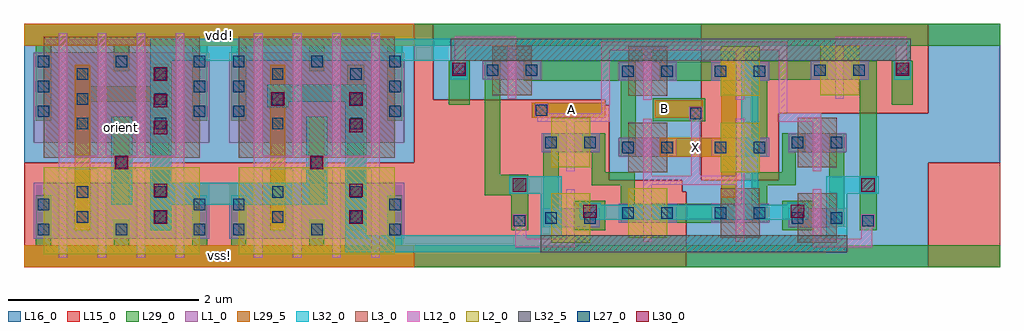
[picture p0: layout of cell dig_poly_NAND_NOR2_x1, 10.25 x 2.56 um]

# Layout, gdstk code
from math import pi, radians
import gdstk
lib = gdstk.Library(unit=1e-6, precision=1e-09)
def R(c, l, rs):  # rectangles x0, y0, x1, y1
    for r in rs: c.add(gdstk.rectangle(r[:2], r[2:], *l))
def A(c, l, x, y, w, h, nx, ny, dx, dy):  # array of equal rectangles
    R(c, l, [(x+i*dx, y+j*dy, x+i*dx+w, y+j*dy+h) for i in range(nx) for j in range(ny)])
L1_0 = (1, 0)
L2_0 = (2, 0)
L3_0 = (3, 0)
L12_0 = (12, 0)
L15_0 = (15, 0)
L16_0 = (16, 0)
L27_0 = (27, 0)
L29_0 = (29, 0)
L29_5 = (29, 5)
L30_0 = (30, 0)
L32_0 = (32, 0)
L32_5 = (32, 5)

nsoim_cdns_580773256580 = lib.new_cell('nsoim_CDNS_580773256580')
R(nsoim_cdns_580773256580, L1_0, [(-0.095,0.2,0,0.79), (0,0.2,0.09,0.79), (0.09,0.2,0.185,0.79)])
R(nsoim_cdns_580773256580, L2_0, [(-0.16,0.04,0.25,0.95)])
R(nsoim_cdns_580773256580, L12_0, [(0,0,0.09,0.09), (0,0.09,0.09,0.2), (0,0.2,0.09,0.79), (0,0.79,0.09,0.9), (0,0.9,0.09,0.99)])
R(nsoim_cdns_580773256580, L15_0, [(-0.155,-0.01,0.245,1)])

stdcell_template_cdns_58 = lib.new_cell('stdcell_template_CDNS_580773256581')
R(stdcell_template_cdns_58, L15_0, [(0,0,2.05,1.1)])
R(stdcell_template_cdns_58, L16_0, [(0,1.1,2.05,2.56)])
R(stdcell_template_cdns_58, L29_0, [(0,0,2.05,0.23), (0,2.33,2.05,2.56)])
R(stdcell_template_cdns_58, L29_5, [(0,0,2.05,0.23), (0,2.33,2.05,2.56)])
stdcell_template_cdns_58.add(gdstk.Label('vss!', (1.025,0.115), layer=29, texttype=5))
stdcell_template_cdns_58.add(gdstk.Label('vdd!', (1.025,2.445), layer=29, texttype=5))

psoim_cdns_580773256582 = lib.new_cell('psoim_CDNS_580773256582')
R(psoim_cdns_580773256582, L1_0, [(-0.095,0.2,0,1.15), (0,0.2,0.09,1.15), (0.09,0.2,0.185,1.15)])
R(psoim_cdns_580773256582, L3_0, [(-0.16,0.04,0.25,1.31)])
R(psoim_cdns_580773256582, L12_0, [(0,0,0.09,0.09), (0,0.09,0.09,0.2), (0,0.2,0.09,1.15), (0,1.15,0.09,1.26), (0,1.26,0.09,1.35)])
R(psoim_cdns_580773256582, L16_0, [(-0.155,-0.01,0.245,1.36)])

poly_m1_cdns_58077325658 = lib.new_cell('POLY_M1_CDNS_580773256581')
R(poly_m1_cdns_58077325658, L12_0, [(-0.07,-0.07,0.07,0.07)])
R(poly_m1_cdns_58077325658, L27_0, [(-0.06,-0.06,0.06,0.06)])
R(poly_m1_cdns_58077325658, L29_0, [(-0.08,-0.1,0.08,0.1)])

act_m1_cdns_580773256582 = lib.new_cell('ACT_M1_CDNS_580773256582')
R(act_m1_cdns_580773256582, L1_0, [(-0.1,-0.1,0.1,0.1)])
R(act_m1_cdns_580773256582, L27_0, [(-0.06,-0.06,0.06,0.06)])
R(act_m1_cdns_580773256582, L29_0, [(-0.08,-0.1,0.08,0.1)])

act_m1_cdns_580773256583 = lib.new_cell('ACT_M1_CDNS_580773256583')
R(act_m1_cdns_580773256583, L1_0, [(-0.1,-0.23,0.1,0.23)])
R(act_m1_cdns_580773256583, L27_0, [(-0.06,-0.19,0.06,-0.07), (-0.06,0.07,0.06,0.19)])
R(act_m1_cdns_580773256583, L29_0, [(-0.08,-0.23,0.08,0.23)])

act_m1_cdns_580773256584 = lib.new_cell('ACT_M1_CDNS_580773256584')
R(act_m1_cdns_580773256584, L1_0, [(-0.1,-0.36,0.1,0.36)])
A(act_m1_cdns_580773256584, L27_0, -0.06, -0.32, 0.12, 0.12, 1, 3, 0, 0.26)
R(act_m1_cdns_580773256584, L29_0, [(-0.08,-0.36,0.08,0.36)])

inv_4x = lib.new_cell('inv_4x')
R(inv_4x, L1_0, [(0.105,0.3,1.945,0.89), (0.105,1.31,1.945,2.26)])
R(inv_4x, L12_0, [(0.365,0.1,0.455,2.46), (0.775,0.1,0.865,2.46), (0.365,1.03,1.685,1.17)])
A(inv_4x, L29_0, 0.125, 0.23, 0.16, 0.27, 3, 2, 0.82, 1.83)
R(inv_4x, L29_0, [(0.535,1.74,1.515,1.9)])
R(inv_4x, L29_5, [(0,0,2.05,0.23), (0.535,0.39,0.695,2.13), (0.945,0.66,1.105,1.58), (0,2.33,2.05,2.56)])
inv_4x.add(gdstk.FlexPath([(1.435,2.13),(1.435,0.39)], 0.16, ends="flush", simple_path=True, layer=29, datatype=0))  # L29_0
inv_4x.add(gdstk.FlexPath([(1.025,1.58),(1.025,0.66)], 0.16, ends="flush", simple_path=True, layer=29, datatype=0))  # L29_0
inv_4x.add(gdstk.FlexPath([(0.615,2.13),(0.615,0.39)], 0.16, ends="flush", simple_path=True, layer=29, datatype=0))  # L29_0
inv_4x.add(gdstk.Reference(nsoim_cdns_580773256580, (1.595,0.1)))
inv_4x.add(gdstk.Reference(nsoim_cdns_580773256580, (1.185,0.1)))
inv_4x.add(gdstk.Reference(nsoim_cdns_580773256580, (0.775,0.1)))
inv_4x.add(gdstk.Reference(nsoim_cdns_580773256580, (0.365,0.1)))
inv_4x.add(gdstk.Reference(stdcell_template_cdns_58, (0,0)))
inv_4x.add(gdstk.Reference(psoim_cdns_580773256582, (1.595,1.11)))
inv_4x.add(gdstk.Reference(psoim_cdns_580773256582, (1.185,1.11)))
inv_4x.add(gdstk.Reference(psoim_cdns_580773256582, (0.775,1.11)))
inv_4x.add(gdstk.Reference(psoim_cdns_580773256582, (0.365,1.11)))
inv_4x.add(gdstk.Reference(poly_m1_cdns_58077325658, (1.025,1.1)))
inv_4x.add(gdstk.Reference(act_m1_cdns_580773256582, (1.025,0.4)))
inv_4x.add(gdstk.Reference(act_m1_cdns_580773256582, (1.025,2.16)))
inv_4x.add(gdstk.Reference(act_m1_cdns_580773256583, (1.845,0.53)))
inv_4x.add(gdstk.Reference(act_m1_cdns_580773256583, (1.435,0.66)))
inv_4x.add(gdstk.Reference(act_m1_cdns_580773256583, (0.205,0.53)))
inv_4x.add(gdstk.Reference(act_m1_cdns_580773256583, (0.615,0.66)))
inv_4x.add(gdstk.Reference(act_m1_cdns_580773256584, (1.845,1.9)))
inv_4x.add(gdstk.Reference(act_m1_cdns_580773256584, (1.435,1.77)))
inv_4x.add(gdstk.Reference(act_m1_cdns_580773256584, (0.615,1.77)))
inv_4x.add(gdstk.Reference(act_m1_cdns_580773256584, (0.205,1.9)))
inv_4x.add(gdstk.Label('vss!', (0.385,0.115), layer=29, texttype=6))
inv_4x.add(gdstk.Label('vdd!', (0.385,2.445), layer=29, texttype=6))
inv_4x.add(gdstk.Label('A', (1.025,1.315), layer=29, texttype=6))
inv_4x.add(gdstk.Label('X', (0.615,1.31), layer=29, texttype=6))

nsoim_cdns_580773256583 = lib.new_cell('nsoim_CDNS_580773256583')
R(nsoim_cdns_580773256583, L1_0, [(-0.26,0.2,0,0.4), (0,0.2,0.09,0.4), (0.09,0.2,0.35,0.4)])
R(nsoim_cdns_580773256583, L2_0, [(-0.16,0.04,0.25,0.56)])
R(nsoim_cdns_580773256583, L12_0, [(0,0,0.09,0.09), (0,0.09,0.09,0.2), (0,0.2,0.09,0.4), (0,0.4,0.09,0.51), (0,0.51,0.09,0.6)])
R(nsoim_cdns_580773256583, L15_0, [(-0.32,-0.01,0.41,0.61)])
R(nsoim_cdns_580773256583, L27_0, [(-0.22,0.24,-0.1,0.36), (0.19,0.24,0.31,0.36)])
R(nsoim_cdns_580773256583, L29_0, [(-0.24,0.2,-0.08,0.4), (0.17,0.2,0.33,0.4)])

psoim_cdns_580773256584 = lib.new_cell('psoim_CDNS_580773256584')
R(psoim_cdns_580773256584, L1_0, [(-0.26,0.2,0,0.4), (0,0.2,0.09,0.4), (0.09,0.2,0.35,0.4)])
R(psoim_cdns_580773256584, L3_0, [(-0.16,0.04,0.25,0.56)])
R(psoim_cdns_580773256584, L12_0, [(0,0,0.09,0.09), (0,0.09,0.09,0.2), (0,0.2,0.09,0.4), (0,0.4,0.09,0.51), (0,0.51,0.09,0.6)])
R(psoim_cdns_580773256584, L16_0, [(-0.32,-0.01,0.41,0.61)])
R(psoim_cdns_580773256584, L27_0, [(-0.22,0.24,-0.1,0.36), (0.19,0.24,0.31,0.36)])
R(psoim_cdns_580773256584, L29_0, [(-0.24,0.2,-0.08,0.4), (0.17,0.2,0.33,0.4)])

m1_m2_cdns_580773256580 = lib.new_cell('M1_M2_CDNS_580773256580')
R(m1_m2_cdns_580773256580, L29_0, [(-0.11,-0.09,0.11,0.09)])
R(m1_m2_cdns_580773256580, L30_0, [(-0.07,-0.07,0.07,0.07)])
R(m1_m2_cdns_580773256580, L32_0, [(-0.09,-0.11,0.09,0.11)])

c_poly_m1_cdns_58077325658 = lib.new_cell('POLY_M1_CDNS_580773256585')
R(c_poly_m1_cdns_58077325658, L12_0, [(-0.07,-0.07,0.07,0.07)])
R(c_poly_m1_cdns_58077325658, L27_0, [(-0.06,-0.06,0.06,0.06)])
R(c_poly_m1_cdns_58077325658, L29_0, [(-0.1,-0.08,0.1,0.08)])

polymorphic_nand_nor2_1x = lib.new_cell('polymorphic_NAND_NOR2_1x')
R(polymorphic_nand_nor2_1x, L12_0, [(-0.045,0.3,-0.02,0.42), (3.5,0.3,3.525,0.42), (1.21,0.87,1.3,0.96), (1.715,0.87,1.805,1.685), (2.18,0.87,2.27,0.96), (0.095,1.53,0.855,1.62), (2.63,1.53,3.08,1.62), (0.765,1.62,0.855,2.37), (2.63,1.62,2.72,2.28), (-0.68,2.16,-0.655,2.33), (3.86,2.16,3.885,2.33), (0.855,2.28,2.72,2.37)])
R(polymorphic_nand_nor2_1x, L15_0, [(-0.995,0,0.08,1.76), (0.08,0,0.81,0.21), (0.81,0,1.62,0.26), (1.62,0,1.66,0.795), (0.81,0.26,0.85,1.705), (0.85,0.26,0.89,0.915), (0.08,0.83,0.81,1), (0.89,0.88,1.62,0.915), (1.82,0.915,1.86,2.56), (1.86,0.915,2.59,0.95), (2.59,0.915,2.63,2.42), (1.86,1.57,2.59,1.75), (0.08,1.62,0.765,1.76), (0.08,1.62,0.81,1.705), (2.63,1.62,2.67,2.42), (2.67,1.62,2.905,2.42), (2.905,1.62,3.635,1.76), (3.635,1.62,4.2,2.56), (0.765,1.705,0.81,1.76), (1.86,2.37,2.59,2.56), (2.905,2.38,3.635,2.42), (2.59,2.42,3.635,2.56)])
R(polymorphic_nand_nor2_1x, L16_0, [(1.66,0,1.86,0.87), (1.86,0,2.59,0.26), (2.59,0,3.4,0.21), (3.4,0,4.2,1.62), (2.59,0.21,2.63,0.915), (2.63,0.21,2.67,1.62), (1.62,0.795,1.66,2.56), (2.67,0.83,3.4,1), (1.66,0.87,1.82,2.56), (1.82,0.87,1.86,0.915), (1.86,0.88,2.59,0.915), (0.85,0.915,0.89,1.705), (0.89,0.915,1.62,0.95), (0.89,1.57,1.62,1.75), (0.81,1.705,0.89,2.42), (-0.995,1.76,-0.535,2.38), (0.195,1.76,0.81,2.38), (0.89,2.37,1.62,2.56), (-0.995,2.38,0.89,2.56)])
R(polymorphic_nand_nor2_1x, L29_0, [(-0.18,0.39,0,0.975), (0.48,0.39,0.81,0.7), (2.67,0.39,3,0.7), (3.48,0.39,3.66,2.17), (0.97,0.67,1.12,1), (2.35,0.67,2.51,1), (-0.455,0.755,-0.18,0.975), (0.67,0.86,0.81,1.21), (0.81,0.86,0.97,1), (2.51,0.86,2.67,1), (2.67,0.86,2.81,1.21), (-0.455,0.975,-0.295,2.17), (0.97,1.16,1.13,1.96), (2.35,1.16,2.51,1.97), (0.73,1.21,0.81,1.41), (2.67,1.21,2.75,1.41), (1.31,1.535,1.86,1.775), (0.04,1.57,0.81,1.73), (-0.835,1.71,-0.615,2.17), (3.82,1.71,4.04,2.17), (-0.045,1.96,1.13,2.17), (2.35,1.97,3.145,2.17)])
R(polymorphic_nand_nor2_1x, L29_5, [(2.03,0.73,2.19,2.16), (0.04,1.57,0.81,1.73), (1.33,1.57,1.835,1.755)])
R(polymorphic_nand_nor2_1x, L32_0, [(3.13,0.155,3.35,0.955), (0.13,0.16,0.35,0.955), (0.35,0.16,3.13,0.34), (0.54,0.5,2.94,0.66), (2.235,0.55,2.415,2.19), (0.02,0.775,0.13,0.955), (3.35,0.775,3.46,0.955), (-0.815,2.17,4.02,2.4)])
R(polymorphic_nand_nor2_1x, L32_5, [(0.13,0.16,3.35,0.34), (-0.815,2.17,4.02,2.4)])
polymorphic_nand_nor2_1x.add(gdstk.FlexPath([(1.38,1.26),(2.02,1.26)], 0.2, ends=(0, 0.08), simple_path=True, layer=29, datatype=0))  # L29_0
polymorphic_nand_nor2_1x.add(gdstk.FlexPath([(2.11,2.16),(2.11,2.06)], 0.16, ends=(0, 0.1), simple_path=True, layer=29, datatype=0))  # L29_0
polymorphic_nand_nor2_1x.add(gdstk.FlexPath([(1.38,0.57),(2.02,0.57)], 0.2, ends=(0, 0.08), simple_path=True, layer=29, datatype=0))  # L29_0
polymorphic_nand_nor2_1x.add(gdstk.FlexPath([(2.11,0.57),(2.11,0.47)], 0.16, ends=(0.1, 0), simple_path=True, layer=29, datatype=0))  # L29_0
polymorphic_nand_nor2_1x.add(gdstk.FlexPath([(0.24,1.41),(0.24,0.42)], 0.16, ends="flush", simple_path=True, layer=29, datatype=0))  # L29_0
polymorphic_nand_nor2_1x.add(gdstk.FlexPath([(3.24,1.41),(3.24,0.42)], 0.16, ends="flush", simple_path=True, layer=29, datatype=0))  # L29_0
polymorphic_nand_nor2_1x.add(gdstk.FlexPath([(2.02,2.06),(2.19,2.06)], 0.2, ends=(0.08, 0), simple_path=True, layer=29, datatype=0))  # L29_0
polymorphic_nand_nor2_1x.add(gdstk.FlexPath([(2.11,2.06),(2.11,1.26)], 0.16, ends=(0.1, 0.1), simple_path=True, layer=29, datatype=0))  # L29_0
polymorphic_nand_nor2_1x.add(gdstk.FlexPath([(2.02,0.57),(2.19,0.57)], 0.2, ends=(0.08, 0), simple_path=True, layer=29, datatype=0))  # L29_0
polymorphic_nand_nor2_1x.add(gdstk.FlexPath([(2.02,1.26),(2.19,1.26)], 0.2, ends=(0.08, 0), simple_path=True, layer=29, datatype=0))  # L29_0
polymorphic_nand_nor2_1x.add(gdstk.FlexPath([(1.38,2.06),(2.02,2.06)], 0.2, ends=(0, 0.08), simple_path=True, layer=29, datatype=0))  # L29_0
polymorphic_nand_nor2_1x.add(gdstk.FlexPath([(2.11,1.26),(2.11,0.57)], 0.16, ends=(0.1, 0.1), simple_path=True, layer=29, datatype=0))  # L29_0
polymorphic_nand_nor2_1x.add(gdstk.FlexPath([(-0.125,2.375),(-0.725,2.375)], 0.09, ends=(0, 0.045), simple_path=True, layer=12, datatype=0))  # L12_0
polymorphic_nand_nor2_1x.add(gdstk.FlexPath([(-0.725,2.375),(-0.725,2.09)], 0.09, ends=(0.045, 0), simple_path=True, layer=12, datatype=0))  # L12_0
polymorphic_nand_nor2_1x.add(gdstk.FlexPath([(3.93,2.375),(3.93,2.09)], 0.09, ends=(0.045, 0), simple_path=True, layer=12, datatype=0))  # L12_0
polymorphic_nand_nor2_1x.add(gdstk.FlexPath([(3.57,0.255),(3.57,0.49)], 0.09, ends=(0.045, 0), simple_path=True, layer=12, datatype=0))  # L12_0
polymorphic_nand_nor2_1x.add(gdstk.FlexPath([(2.99,0.255),(3.57,0.255)], 0.09, ends=(0, 0.045), simple_path=True, layer=12, datatype=0))  # L12_0
polymorphic_nand_nor2_1x.add(gdstk.FlexPath([(-0.09,0.255),(-0.09,0.49)], 0.09, ends=(0.045, 0), simple_path=True, layer=12, datatype=0))  # L12_0
polymorphic_nand_nor2_1x.add(gdstk.FlexPath([(0.49,0.255),(-0.09,0.255)], 0.09, ends=(0, 0.045), simple_path=True, layer=12, datatype=0))  # L12_0
polymorphic_nand_nor2_1x.add(gdstk.FlexPath([(1.21,0.915),(2.27,0.915)], 0.09, ends="flush", simple_path=True, layer=12, datatype=0))  # L12_0
polymorphic_nand_nor2_1x.add(gdstk.FlexPath([(3.225,2.375),(3.93,2.375)], 0.09, ends=(0, 0.045), simple_path=True, layer=12, datatype=0))  # L12_0
polymorphic_nand_nor2_1x.add(gdstk.Reference(nsoim_cdns_580773256583, (0.49,0.82), rotation=pi))
polymorphic_nand_nor2_1x.add(gdstk.Reference(nsoim_cdns_580773256583, (2.27,2.36), rotation=pi))
polymorphic_nand_nor2_1x.add(gdstk.Reference(nsoim_cdns_580773256583, (1.21,0.27)))
polymorphic_nand_nor2_1x.add(gdstk.Reference(nsoim_cdns_580773256583, (0.4,1.01)))
polymorphic_nand_nor2_1x.add(gdstk.Reference(nsoim_cdns_580773256583, (3.315,2.37), rotation=pi))
polymorphic_nand_nor2_1x.add(gdstk.Reference(nsoim_cdns_580773256583, (2.18,0.96)))
polymorphic_nand_nor2_1x.add(gdstk.Reference(psoim_cdns_580773256584, (2.99,0.22)))
polymorphic_nand_nor2_1x.add(gdstk.Reference(psoim_cdns_580773256584, (-0.215,1.77)))
polymorphic_nand_nor2_1x.add(gdstk.Reference(psoim_cdns_580773256584, (1.21,1.76)))
polymorphic_nand_nor2_1x.add(gdstk.Reference(psoim_cdns_580773256584, (1.3,1.56), rotation=pi))
polymorphic_nand_nor2_1x.add(gdstk.Reference(psoim_cdns_580773256584, (2.27,0.87), rotation=pi))
polymorphic_nand_nor2_1x.add(gdstk.Reference(psoim_cdns_580773256584, (2.99,1.01)))
polymorphic_nand_nor2_1x.add(gdstk.Reference(m1_m2_cdns_580773256580, (3.57,0.865), rotation=pi/2, x_reflection=True))
polymorphic_nand_nor2_1x.add(gdstk.Reference(m1_m2_cdns_580773256580, (-0.09,0.865), rotation=pi/2))
polymorphic_nand_nor2_1x.add(gdstk.Reference(m1_m2_cdns_580773256580, (3.93,2.08), rotation=pi))
polymorphic_nand_nor2_1x.add(gdstk.Reference(m1_m2_cdns_580773256580, (-0.725,2.08), x_reflection=True))
polymorphic_nand_nor2_1x.add(gdstk.Reference(m1_m2_cdns_580773256580, (2.83,0.59), rotation=pi/2))
polymorphic_nand_nor2_1x.add(gdstk.Reference(m1_m2_cdns_580773256580, (0.65,0.59), rotation=pi/2))
polymorphic_nand_nor2_1x.add(gdstk.Reference(c_poly_m1_cdns_58077325658, (-0.09,0.49), rotation=pi/2))
polymorphic_nand_nor2_1x.add(gdstk.Reference(c_poly_m1_cdns_58077325658, (3.57,0.49), rotation=pi/2, x_reflection=True))
polymorphic_nand_nor2_1x.add(gdstk.Reference(c_poly_m1_cdns_58077325658, (-0.725,2.09), rotation=pi, x_reflection=True))
polymorphic_nand_nor2_1x.add(gdstk.Reference(c_poly_m1_cdns_58077325658, (3.93,2.09)))
polymorphic_nand_nor2_1x.add(gdstk.Reference(c_poly_m1_cdns_58077325658, (1.76,1.615)))
polymorphic_nand_nor2_1x.add(gdstk.Reference(c_poly_m1_cdns_58077325658, (0.14,1.65)))
polymorphic_nand_nor2_1x.add(gdstk.Label('X', (2.11,1.65), layer=29, texttype=6))
polymorphic_nand_nor2_1x.add(gdstk.Label('B', (1.435,1.67), layer=29, texttype=6))
polymorphic_nand_nor2_1x.add(gdstk.Label('A', (0.455,1.655), layer=29, texttype=6))
polymorphic_nand_nor2_1x.add(gdstk.Label('Vxx', (1.785,0.255), layer=32, texttype=6))
polymorphic_nand_nor2_1x.add(gdstk.Label('Vyy', (1.74,2.32), layer=32, texttype=6))

dig_poly_nand_nor2_x1 = lib.new_cell('dig_poly_NAND_NOR2_x1')
R(dig_poly_nand_nor2_x1, L15_0, [(4.1,0,4.3,2.56), (9.495,0,10.25,1.1)])
R(dig_poly_nand_nor2_x1, L16_0, [(9.495,1.1,10.25,2.56)])
R(dig_poly_nand_nor2_x1, L29_0, [(4.1,0,10.25,0.23), (1.345,0.39,1.525,2.14), (3.395,0.39,3.575,2.13), (4.1,2.33,10.25,2.56)])
R(dig_poly_nand_nor2_x1, L29_5, [(0,0,4.1,0.23), (6.675,1.16,7.485,1.36), (0.945,1.335,1.105,1.58), (5.335,1.57,6.105,1.73), (6.625,1.57,7.13,1.755), (0,2.33,4.1,2.56)])
R(dig_poly_nand_nor2_x1, L32_0, [(3.375,0.16,5.425,0.34), (3.375,0.34,3.595,1.86), (1.325,0.39,1.545,2.17), (0.915,0.66,1.135,1.58), (1.545,0.66,2.965,0.89), (2.965,0.66,3.185,1.58), (2.555,1.74,3.375,1.92), (3.375,1.86,3.595,1.92), (1.325,2.17,4.48,2.4)])
dig_poly_nand_nor2_x1.add(gdstk.Reference(inv_4x, (0,0)))
dig_poly_nand_nor2_x1.add(gdstk.Reference(inv_4x, (2.05,0)))
dig_poly_nand_nor2_x1.add(gdstk.Reference(polymorphic_nand_nor2_1x, (5.295,0)))
dig_poly_nand_nor2_x1.add(gdstk.Reference(m1_m2_cdns_580773256580, (1.025,1.1), rotation=pi/2))
dig_poly_nand_nor2_x1.add(gdstk.Reference(m1_m2_cdns_580773256580, (3.075,1.1), rotation=pi/2))
dig_poly_nand_nor2_x1.add(gdstk.Reference(m1_m2_cdns_580773256580, (3.485,0.53), rotation=pi/2))
dig_poly_nand_nor2_x1.add(gdstk.Reference(m1_m2_cdns_580773256580, (3.485,0.81), rotation=pi/2))
dig_poly_nand_nor2_x1.add(gdstk.Reference(m1_m2_cdns_580773256580, (3.485,1.49), rotation=pi/2))
dig_poly_nand_nor2_x1.add(gdstk.Reference(m1_m2_cdns_580773256580, (3.485,1.77), rotation=pi/2))
dig_poly_nand_nor2_x1.add(gdstk.Reference(m1_m2_cdns_580773256580, (2.665,1.77), rotation=pi/2))
dig_poly_nand_nor2_x1.add(gdstk.Reference(m1_m2_cdns_580773256580, (1.435,0.53), rotation=pi/2))
dig_poly_nand_nor2_x1.add(gdstk.Reference(m1_m2_cdns_580773256580, (1.435,0.81), rotation=pi/2))
dig_poly_nand_nor2_x1.add(gdstk.Reference(m1_m2_cdns_580773256580, (1.435,1.47), rotation=pi/2))
dig_poly_nand_nor2_x1.add(gdstk.Reference(m1_m2_cdns_580773256580, (1.435,2.03), rotation=pi/2))
dig_poly_nand_nor2_x1.add(gdstk.Reference(m1_m2_cdns_580773256580, (1.435,1.75), rotation=pi/2))
dig_poly_nand_nor2_x1.add(gdstk.Label('vss!', (2.05,0.12), layer=29, texttype=6))
dig_poly_nand_nor2_x1.add(gdstk.Label('vdd!', (2.05,2.44), layer=29, texttype=6))
dig_poly_nand_nor2_x1.add(gdstk.Label('X', (7.05,1.26), layer=29, texttype=6))
dig_poly_nand_nor2_x1.add(gdstk.Label('B', (6.73,1.67), layer=29, texttype=6))
dig_poly_nand_nor2_x1.add(gdstk.Label('A', (5.75,1.655), layer=29, texttype=6))
dig_poly_nand_nor2_x1.add(gdstk.Label('orient', (1.025,1.47), layer=29, texttype=6))

lib.write_gds('dig_poly_NAND_NOR2_x1.gds')
